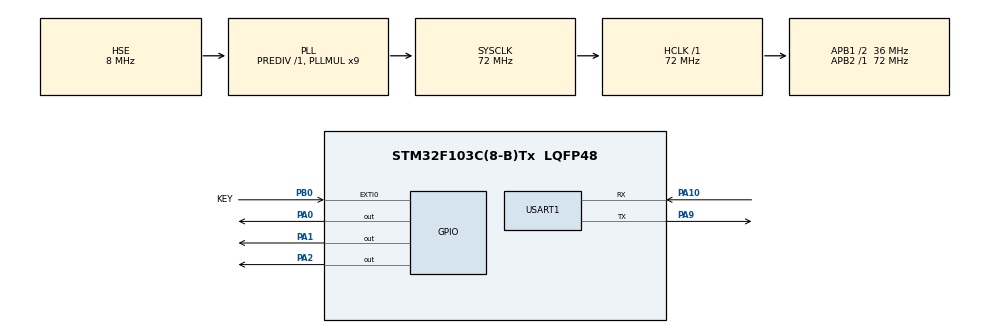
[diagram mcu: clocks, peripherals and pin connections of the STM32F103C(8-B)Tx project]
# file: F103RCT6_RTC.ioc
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Mcu.Family=STM32F1
Mcu.Name=STM32F103C(8-B)Tx
Mcu.Package=LQFP48
NVIC.EXTI0_IRQn=true\:0\:0\:false\:false\:true\:true\:true\:true
NVIC.PriorityGroup=NVIC_PRIORITYGROUP_4
NVIC.RTC_Alarm_IRQn=true\:0\:0\:false\:false\:true\:true\:true\:true
PA0-WKUP.Signal=GPIO_Output
PA1.Signal=GPIO_Output
PA10.Mode=Asynchronous
PA10.Signal=USART1_RX
PA13.Mode=Serial_Wire
PA13.Signal=SYS_JTMS-SWDIO
PA14.Mode=Serial_Wire
PA14.Signal=SYS_JTCK-SWCLK
PA2.Signal=GPIO_Output
PA9.Mode=Asynchronous
PA9.Signal=USART1_TX
PB0.GPIO_Label=KEY
PB0.Signal=GPXTI0
PD0-OSC_IN.Mode=HSE-External-Oscillator
PD0-OSC_IN.Signal=RCC_OSC_IN
PD1-OSC_OUT.Mode=HSE-External-Oscillator
PD1-OSC_OUT.Signal=RCC_OSC_OUT
ProjectManager.HeapSize=0x200
ProjectManager.StackSize=0x400
ProjectManager.TargetToolchain=MDK-ARM V5.27
RCC.AHBFreq_Value=72000000
RCC.APB1CLKDivider=RCC_HCLK_DIV2
RCC.APB1Freq_Value=36000000
RCC.APB1TimFreq_Value=72000000
RCC.APB2Freq_Value=72000000
RCC.APB2TimFreq_Value=72000000
RCC.HCLKFreq_Value=72000000
RCC.PLLMUL=RCC_PLL_MUL9
RCC.PLLSourceVirtual=RCC_PLLSOURCE_HSE
RCC.SYSCLKFreq_VALUE=72000000
RCC.SYSCLKSource=RCC_SYSCLKSOURCE_PLLCLK
RCC.USBFreq_Value=72000000
RTC.AutoPrediv=0
RTC.Format=RTC_FORMAT_BIN
USART1.VirtualMode=VM_ASYNC
VP_RTC_VS_RTC_Activate.Mode=RTC_Enabled
board=custom

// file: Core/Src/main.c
/* USER CODE BEGIN Header */
/**
  ******************************************************************************
  * @file           : main.c
  * @brief          : Main program body
  ******************************************************************************
  * @attention
  *
  * Copyright (c) 2025 STMicroelectronics.
  * All rights reserved.
  *
  * This software is licensed under terms that can be found in the LICENSE file
  * in the root directory of this software component.
  * If no LICENSE file comes with this software, it is provided AS-IS.
  *
  ******************************************************************************
  */
/* USER CODE END Header */
#include "main.h"
#include "rtc.h"
#include "usart.h"
#include "gpio.h"

/* USER CODE BEGIN Includes */
#include "LpTimer.h"
/* USER CODE END Includes */

/* USER CODE BEGIN PV */
LpTimer test1_timer;
LpTimer test2_timer;
LpTimer test3_timer;
/* USER CODE END PV */

/* USER CODE BEGIN PFP */
void test1_timer_hook(void){
    HAL_GPIO_TogglePin(GPIOA, GPIO_PIN_0);
}
void test2_timer_hook(void){
    HAL_GPIO_WritePin(GPIOA, GPIO_PIN_1, GPIO_PIN_SET);
}
void test3_timer_hook(void){
    HAL_GPIO_TogglePin(GPIOA, GPIO_PIN_2);
    static uint8_t i = 0;
    i++;
    if(i == 2){
      i = 0;
      if(LPTIMER_IS_STOPED(&test2_timer)){
        LpTimer_Start(&test2_timer,MS2TICK(3000));
        HAL_GPIO_WritePin(GPIOA, GPIO_PIN_1, GPIO_PIN_RESET);
      }
    }
}
void HAL_GPIO_EXTI_Callback(uint16_t GPIO_Pin)
{
    HAL_Init();
    SystemClock_Config(); //恢复HSE时钟源
    HAL_UART_MspInit(&huart1); // 重新初始化USART1
    if(GPIO_Pin == KEY_Pin) // 检查是否为KEY
    {
        // printf("into %d \r\n",(uint8_t)HAL_GPIO_ReadPin(KEY_GPIO_Port, KEY_Pin));
        if(HAL_GPIO_ReadPin(KEY_GPIO_Port, KEY_Pin) == GPIO_PIN_RESET){
          // printf("Button pressed!\r\n");
          LpTimer_Stop(&test1_timer);
        }
    }
}
/* USER CODE END PFP */

int main(void)
{

  /* MCU Configuration--------------------------------------------------------*/

  /* Reset of all peripherals, Initializes the Flash interface and the Systick. */
  HAL_Init();

  /* Configure the system clock */
  SystemClock_Config();

  /* Initialize all configured peripherals */
  MX_GPIO_Init();
  MX_RTC_Init();
  MX_USART1_UART_Init();
  /* USER CODE BEGIN 2 */
  HAL_GPIO_WritePin(GPIOA, GPIO_PIN_0, GPIO_PIN_RESET);
  HAL_GPIO_WritePin(GPIOA, GPIO_PIN_1, GPIO_PIN_RESET);
  HAL_GPIO_WritePin(GPIOA, GPIO_PIN_2, GPIO_PIN_RESET);
  LpTimer_Create(&test1_timer, E_LPTIMERMODE_PERIODIC, test1_timer_hook);
  LpTimer_Create(&test2_timer, E_LPTIMERMODE_ONCE, test2_timer_hook);
  LpTimer_Create(&test3_timer, E_LPTIMERMODE_PERIODIC, test3_timer_hook);
  LpTimer_Start(&test1_timer,MS2TICK(1000));
  LpTimer_Start(&test2_timer,MS2TICK(5000));
  LpTimer_Start(&test3_timer,MS2TICK(3200));
  /* USER CODE END 2 */

  /* Infinite loop */
  while (1)
  {

    /* USER CODE BEGIN 3 */
    HAL_UART_MspDeInit(&huart1); // 关闭USART1，节省功耗
    HAL_SuspendTick();
    HAL_PWR_EnterSTOPMode(PWR_LOWPOWERREGULATOR_ON, PWR_STOPENTRY_WFI);
  }
  /* USER CODE END 3 */
}

void SystemClock_Config(void)
{
  RCC_OscInitTypeDef RCC_OscInitStruct = {0};
  RCC_ClkInitTypeDef RCC_ClkInitStruct = {0};
  RCC_PeriphCLKInitTypeDef PeriphClkInit = {0};

  /** Initializes the RCC Oscillators according to the specified parameters
  * in the RCC_OscInitTypeDef structure.
  */
  RCC_OscInitStruct.OscillatorType = RCC_OSCILLATORTYPE_LSI|RCC_OSCILLATORTYPE_HSE;
  RCC_OscInitStruct.HSEState = RCC_HSE_ON;
  RCC_OscInitStruct.HSEPredivValue = RCC_HSE_PREDIV_DIV1;
  RCC_OscInitStruct.HSIState = RCC_HSI_ON;
  RCC_OscInitStruct.LSIState = RCC_LSI_ON;
  RCC_OscInitStruct.PLL.PLLState = RCC_PLL_ON;
  RCC_OscInitStruct.PLL.PLLSource = RCC_PLLSOURCE_HSE;
  RCC_OscInitStruct.PLL.PLLMUL = RCC_PLL_MUL9;
  if (HAL_RCC_OscConfig(&RCC_OscInitStruct) != HAL_OK)
  {
    Error_Handler();
  }

  /** Initializes the CPU, AHB and APB buses clocks
  */
  RCC_ClkInitStruct.ClockType = RCC_CLOCKTYPE_HCLK|RCC_CLOCKTYPE_SYSCLK
                              |RCC_CLOCKTYPE_PCLK1|RCC_CLOCKTYPE_PCLK2;
  RCC_ClkInitStruct.SYSCLKSource = RCC_SYSCLKSOURCE_PLLCLK;
  RCC_ClkInitStruct.AHBCLKDivider = RCC_SYSCLK_DIV1;
  RCC_ClkInitStruct.APB1CLKDivider = RCC_HCLK_DIV2;
  RCC_ClkInitStruct.APB2CLKDivider = RCC_HCLK_DIV1;

  if (HAL_RCC_ClockConfig(&RCC_ClkInitStruct, FLASH_LATENCY_2) != HAL_OK)
  {
    Error_Handler();
  }
  PeriphClkInit.PeriphClockSelection = RCC_PERIPHCLK_RTC;
  PeriphClkInit.RTCClockSelection = RCC_RTCCLKSOURCE_LSI;
  if (HAL_RCCEx_PeriphCLKConfig(&PeriphClkInit) != HAL_OK)
  {
    Error_Handler();
  }
}

/* USER CODE BEGIN 4 */
void HAL_RTC_AlarmAEventCallback(RTC_HandleTypeDef *hrtc){
  LpTimer_Execute();
}
/* USER CODE END 4 */

void Error_Handler(void)
{
  __disable_irq();
  while (1)
  {
  }
}
